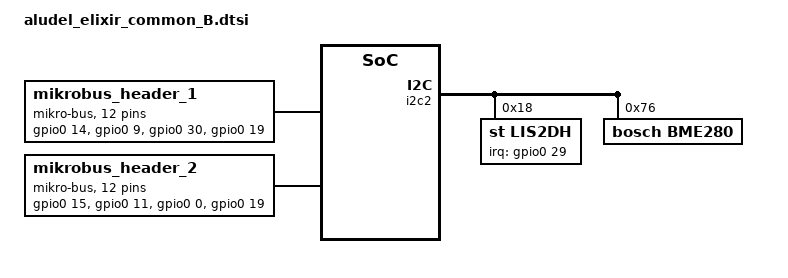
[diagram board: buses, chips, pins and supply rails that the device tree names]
/*
 * Copyright (c) 2024 Golioth, Inc.
 *
 * SPDX-License-Identifier: Apache-2.0
 */

#include "aludel_elixir_common_B-pinctrl.dtsi"

/ {
	aliases {
		accel0 = &lis2dh;
		spi-flash0 = &w25q32jv;
	};

	mikrobus_header_1: mikrobus-connector-1 {
		compatible = "mikro-bus";
		#gpio-cells = <2>;
		gpio-map-mask = <0xffffffff 0xffffffc0>;
		gpio-map-pass-thru = <0 0x3f>;
		gpio-map =	<0 0 &gpio0 14 0>,	/* AN1 */
				<1 0 &gpio0 9 0>,	/* RST1 */
				<2 0 &gpio0 30 0>,	/* CS1 */
				<3 0 &gpio0 19 0>,	/* SCK */
				<4 0 &gpio0 22 0>,	/* MISO */
				<5 0 &gpio0 21 0>,	/* MOSI */
							/* +3.3V */
							/* GND */
				<6 0 &gpio0 16 0>,	/* PWM1 */
				<7 0 &gpio0 1 0>,	/* INT1 */
				<8 0 &gpio0 23 0>,	/* RX */
				<9 0 &gpio0 24 0>,	/* TX */
				<10 0 &gpio0 26 0>,	/* SCL */
				<11 0 &gpio0 27 0>;	/* SDA */
							/* +5V */
							/* GND */
	};

	mikrobus_header_2: mikrobus-connector-2 {
		compatible = "mikro-bus";
		#gpio-cells = <2>;
		gpio-map-mask = <0xffffffff 0xffffffc0>;
		gpio-map-pass-thru = <0 0x3f>;
		gpio-map =	<0 0 &gpio0 15 0>,	/* AN2 */
				<1 0 &gpio0 11 0>,	/* RST2 */
				<2 0 &gpio0 0 0>,	/* CS2 */
				<3 0 &gpio0 19 0>,	/* SCK */
				<4 0 &gpio0 22 0>,	/* MISO */
				<5 0 &gpio0 21 0>,	/* MOSI */
							/* +3.3V */
							/* GND */
				<6 0 &gpio0 17 0>,	/* PWM2 */
				<7 0 &gpio0 2 0>,	/* INT2 */
				<8 0 &gpio0 23 0>,	/* RX */
				<9 0 &gpio0 24 0>,	/* TX */
				<10 0 &gpio0 26 0>,	/* SCL */
				<11 0 &gpio0 27 0>;	/* SDA */
							/* +5V */
							/* GND */
	};
};

&i2c2 {
	lis2dh: lis2dh@18 {
		compatible = "st,lis2dh";
		reg = <0x18>;
		irq-gpios = <&gpio0 29 GPIO_ACTIVE_HIGH>;
	};

	bme280: bme280@76 {
		compatible = "bosch,bme280";
		reg = <0x76>;
	};
};

&spi3 {
	cs-gpios = <&mikrobus_header_1 2 GPIO_ACTIVE_LOW>, /* CLICK_CS1 */
	           <&mikrobus_header_2 2 GPIO_ACTIVE_LOW>, /* CLICK_CS2 */
		   <&gpio0 7 GPIO_ACTIVE_LOW>;             /* FLASH_CS */

	w25q32jv: w25q32jv@2 {
		compatible = "jedec,spi-nor";
		status = "disabled";
		reg = <2>;
		spi-max-frequency = <40000000>;
		wp-gpios = <&gpio0 8 GPIO_ACTIVE_LOW>;
		hold-gpios = <&gpio0 10 GPIO_ACTIVE_LOW>;
		size = <0x2000000>;
		has-dpd;
		t-enter-dpd = <3000>;
		t-exit-dpd = <30000>;
		jedec-id = [ ef 40 16  ];
	};
};
